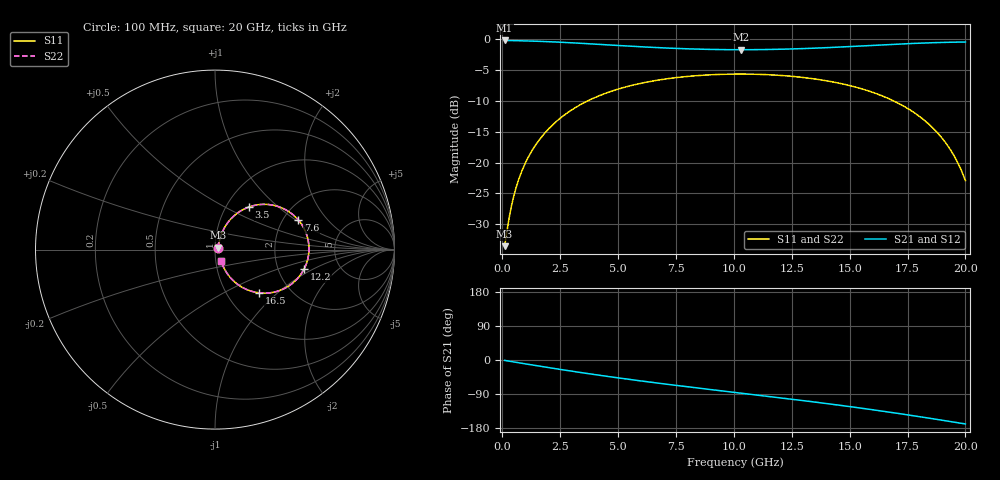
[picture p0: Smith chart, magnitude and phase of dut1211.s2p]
! Touchstone file exported from HFSS 2026.1.0
!  File:  C:/ffzhzh/LocalFiles/Ansys_Project_Files/temp_train_TSV_RDL_1211_1783319785_38704.aedt
!  Generated:  02:46:28 PM Jul  6, 2026
!  Design:  TSV_RDL
!  Project:  temp_train_TSV_RDL_1211_1783319785_38704
! Variables:
!  h_bsmrdl = 4.29um
!  h_ox = 20um
!  h_rdl = 5um
!  h_sub = 82.95um
!  h_tmrdl = 3.05um
!  h_tsv = 82.95um
!  h_via = 3um
!  l_bsmrdl = 351.5um
!  l_sub = 2650.46um
!  l_tmrdl = 279.43um
!  m_sub = 200um
!  pitch = 39.54um
!  r_tsv = 8.64um
!  s_tmrdl = 10um
!  w_bsmrdl = 10.07um
!  w_sub = 500um
!  w_tmrdl = 16.01um
!  x_tsv_center1 = 287.435um
!  x_tsv_center2 = 649.005um
!  x_tsv_center3 = 944.445um
!  x_tsv_center4 = 1306.015um
!  x_tsv_center5 = 1601.455um
!  x_tsv_center6 = 1963.025um
# GHz S MA R 50.000000
! Terminal data exported
! Port[1] = TM_RDL1_1_T1
! Port[2] = TM_RDL5_1_T1
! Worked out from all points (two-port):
!   200 points, 100 MHz to 20 GHz, reference 50 ohm
!   highest |S21| = -0.16 dB at 100 MHz (marker M1); lowest = -1.7 dB at 10.3 GHz (marker M2)
!   |S21| within 3 dB of the highest: start of sweep to end of sweep
!   lowest |S11| = -33.6 dB at 100 MHz (marker M3), VSWR 1.04, Z = 51.9 + j1.03 ohm
!   |S11| at or under -10 dB: start of sweep to 3.674 GHz; 16.91 GHz to end of sweep
!   |S22| runs from -33.6 to -5.6 dB; largest |S21 - S12| = 5.9e-14
!   S11 on the Smith chart (normalised r, x): 100 MHz: 1.04, +0.02; 3.5 GHz: 1.27, +0.67; 7.6 GHz: 2.40, +1.05; 12.2 GHz: 2.79, -0.82; 16.5 GHz: 1.40, -0.76; 20 GHz: 1.06, -0.13
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0.1  0.02096 28.4  0.9817 -1.1  0.9817 -1.1  0.02096 28.4
! Gamma 0 0 0 0
! Port Impedance 50 0 50 0
0.3  0.03592 55.1  0.9806 -3.1  0.9806 -3.1  0.03592 55.1
0.5  0.05386 63.2  0.979 -5.2  0.979 -5.2  0.05386 63.2
0.8  0.08127 66.9  0.976 -8.2  0.976 -8.2  0.08127 66.9
1.2  0.1176 67.2  0.9714 -12.2  0.9714 -12.2  0.1176 67.2
1.7  0.162 64.9  0.9644 -17.1  0.9644 -17.1  0.162 64.9
2.2  0.2047 61.6  0.9558 -22.0  0.9558 -22.0  0.2047 61.6
3.5  0.3043 51.4  0.9285 -34.1  0.9285 -34.1  0.3043 51.4
5.1  0.4003 38.5  0.8912 -48.0  0.8912 -48.0  0.4003 38.5
6.8  0.47 25.5  0.8569 -61.6  0.8569 -61.6  0.47 25.5
7.6  0.4923 19.7  0.8446 -67.7  0.8446 -67.7  0.4923 19.7
10.1  0.5236 2.1  0.8258 -85.9  0.8258 -85.9  0.5236 2.1
10.3  0.5237 0.8  0.8257 -87.4  0.8257 -87.4  0.5237 0.7
12.2  0.5076 -12.5  0.8344 -101.2  0.8344 -101.2  0.5077 -12.5
13.4  0.4807 -21.1  0.8485 -110.2  0.8485 -110.2  0.4807 -21.1
15  0.4224 -33.0  0.8754 -122.9  0.8754 -122.9  0.4224 -33.0
16.5  0.3426 -44.6  0.9051 -135.7  0.9051 -135.7  0.3427 -44.6
16.7  0.3301 -46.2  0.909 -137.5  0.909 -137.5  0.3301 -46.2
17.8  0.2536 -54.7  0.9294 -147.5  0.9294 -147.5  0.2537 -54.7
18.7  0.1825 -60.9  0.9427 -156.0  0.9427 -156.0  0.1825 -60.9
19.4  0.1232 -63.9  0.9499 -162.8  0.9499 -162.8  0.1233 -63.9
20  0.07142 -61.4  0.9533 -168.8  0.9533 -168.8  0.07147 -61.4
